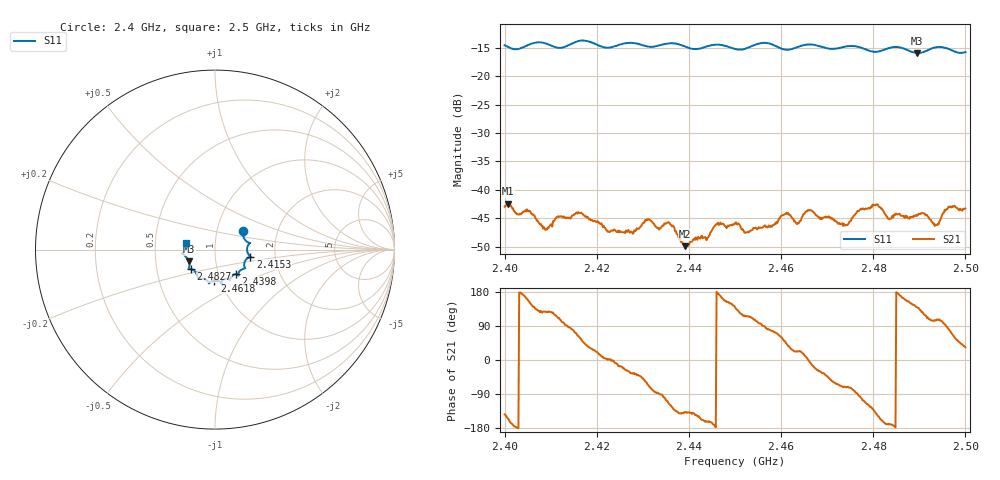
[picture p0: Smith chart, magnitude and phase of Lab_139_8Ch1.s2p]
# Hz S RI R 50
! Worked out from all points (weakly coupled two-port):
!   601 points, 2.4 GHz to 2.5 GHz, reference 50 ohm
!   highest |S21| = -42.44 dB at 2.4007 GHz (marker M1); lowest = -49.9 dB at 2.4392 GHz (marker M2)
!   lowest |S11| = -15.9 dB at 2.4895 GHz (marker M3), VSWR 1.38, Z = 37 - j5.02 ohm
!   |S11| at or under -10 dB: start of sweep to end of sweep
!   S12 and S22 are empty: the file has one direction only
!   S11 on the Smith chart (normalised r, x): 2.4 GHz: 1.33, +0.29; 2.4153 GHz: 1.48, -0.12; 2.4398 GHz: 1.21, -0.34; 2.4618 GHz: 0.94, -0.33; 2.4827 GHz: 0.75, -0.17; 2.5 GHz: 0.72, +0.06
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2.4e9  0.1552 0.1063  -0.00571 -0.00422  0 0  0 0
2.400667e9  0.1549 0.0964  -0.00679 -0.0033  0 0  0 0
2.408833e9  0.1925 0.0355  -0.00274 0.00349  0 0  0 0
2.415333e9  0.1967 -0.0393  0.00185 0.00584  0 0  0 0
2.416667e9  0.2025 -0.0434  0.00377 0.00502  0 0  0 0
2.4225e9  0.1647 -0.0704  0.00428 0.000171  0 0  0 0
2.433333e9  0.1301 -0.1336  0.000231 -0.00462  0 0  0 0
2.436e9  0.1319 -0.1449  -0.00241 -0.0043  0 0  0 0
2.439167e9  0.1217 -0.1366  -0.00236 -0.00215  0 0  0 0
2.439833e9  0.1158 -0.1362  -0.00238 -0.00214  0 0  0 0
2.45e9  0.0648 -0.162  -0.00385 0.00331  0 0  0 0
2.4525e9  0.0409 -0.172  -0.00182 0.0038  0 0  0 0
2.461833e9  -0.0032 -0.1725  0.005 0.00341  0 0  0 0
2.466667e9  -0.0344 -0.1879  0.0064 -0.00144  0 0  0 0
2.474e9  -0.0886 -0.1604  0.00159 -0.00462  0 0  0 0
2.480333e9  -0.1124 -0.12  -0.00532 -0.0051  0 0  0 0
2.482667e9  -0.1351 -0.109  -0.00592 -0.00119  0 0  0 0
2.483333e9  -0.1402 -0.1084  -0.00547 -0.000968  0 0  0 0
2.4895e9  -0.1459 -0.0661  -0.00459 0.00392  0 0  0 0
2.493667e9  -0.1794 -0.0234  -0.00124 0.00473  0 0  0 0
2.496333e9  -0.1742 -0.0132  0.00107 0.00703  0 0  0 0
2.5e9  -0.1594 0.0384  0.00571 0.00376  0 0  0 0
